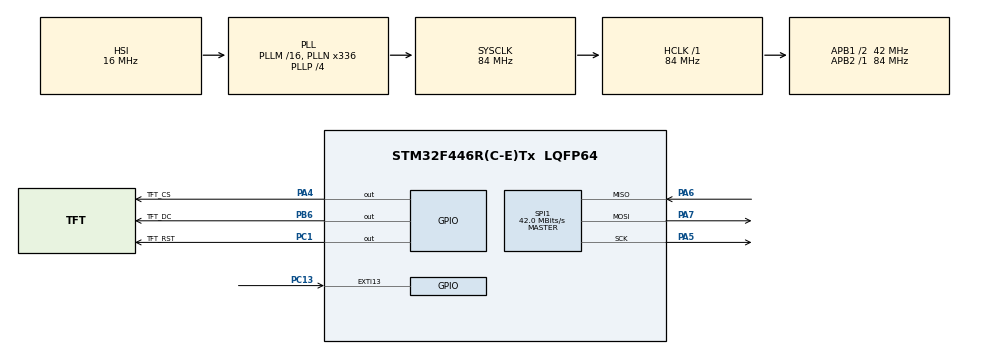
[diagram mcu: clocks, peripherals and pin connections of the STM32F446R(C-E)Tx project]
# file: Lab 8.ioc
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Mcu.Family=STM32F4
Mcu.Name=STM32F446R(C-E)Tx
Mcu.Package=LQFP64
NUCLEO-F446RE.BUTTON=1
NUCLEO-F446RE.LD1=true
NVIC.EXTI15_10_IRQn=true\:0\:0\:false\:false\:true\:false\:true\:true
NVIC.PriorityGroup=NVIC_PRIORITYGROUP_0
PA13.GPIO_Label=TMS
PA13.Signal=SYS_JTMS-SWDIO
PA14.GPIO_Label=TCK
PA14.Signal=SYS_JTCK-SWCLK
PA2.GPIO_Label=USART_TX
PA2.Signal=USART2_TX
PA3.GPIO_Label=USART_RX
PA3.Signal=USART2_RX
PA4.GPIO_Label=TFT_CS
PA4.Signal=GPIO_Output
PA5.Mode=Full_Duplex_Master
PA5.Signal=SPI1_SCK
PA6.Mode=Full_Duplex_Master
PA6.Signal=SPI1_MISO
PA7.Mode=Full_Duplex_Master
PA7.Signal=SPI1_MOSI
PB3.GPIO_Label=SWO
PB3.Signal=SYS_JTDO-SWO
PB6.GPIO_Label=TFT_DC
PB6.Signal=GPIO_Output
PC1.GPIO_Label=TFT_RST
PC1.Signal=GPIO_Output
PC13.Signal=GPXTI13
PC14-OSC32_IN.Signal=RCC_OSC32_IN
PC15-OSC32_OUT.Signal=RCC_OSC32_OUT
PH0-OSC_IN.Signal=RCC_OSC_IN
PH1-OSC_OUT.Signal=RCC_OSC_OUT
ProjectManager.HeapSize=0x200
ProjectManager.StackSize=0x400
ProjectManager.TargetToolchain=STM32CubeIDE
RCC.AHBFreq_Value=84000000
RCC.APB1CLKDivider=RCC_HCLK_DIV2
RCC.APB1Freq_Value=42000000
RCC.APB1TimFreq_Value=84000000
RCC.APB2Freq_Value=84000000
RCC.APB2TimFreq_Value=84000000
RCC.CortexFreq_Value=84000000
RCC.FLatency-AdvancedSettings=FLASH_LATENCY_2
RCC.HCLKFreq_Value=84000000
RCC.HSE_VALUE=8000000
RCC.HSI_VALUE=16000000
RCC.LSE_VALUE=32768
RCC.PLLN=336
RCC.PLLP=RCC_PLLP_DIV4
RCC.SYSCLKFreq_VALUE=84000000
RCC.SYSCLKSource=RCC_SYSCLKSOURCE_PLLCLK
RCC.USBFreq_Value=168000000
RCC.VCOOutputFreq_Value=336000000
SPI1.CalculateBaudRate=42.0 MBits/s
SPI1.Direction=SPI_DIRECTION_2LINES
SPI1.Mode=SPI_MODE_MASTER
SPI1.VirtualType=VM_MASTER
VP_NUCLEO-F446RE_VS_BSP_COMMON.Mode=COMMON
board=NUCLEO-F446RE

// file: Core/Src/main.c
/* USER CODE BEGIN Header */
/**
  ******************************************************************************
  * @file           : main.c
  * @brief          : Main program body
  ******************************************************************************
  * @attention
  *
  * Copyright (c) 2026 STMicroelectronics.
  * All rights reserved.
  *
  * This software is licensed under terms that can be found in the LICENSE file
  * in the root directory of this software component.
  * If no LICENSE file comes with this software, it is provided AS-IS.
  *
  ******************************************************************************
  */
/* USER CODE END Header */
#include "main.h"

/* USER CODE BEGIN Includes */
#include "ili9341.h"
#include <stdio.h>
#include <stdint.h>

/* USER CODE END Includes */

SPI_HandleTypeDef hspi1;

void SystemClock_Config(void);
static void MX_GPIO_Init(void);
static void MX_SPI1_Init(void);
/* USER CODE BEGIN PFP */
static void Oxy_Pixel(int16_t x, int16_t y, uint16_t color);
static void Oxy_Line(int16_t x0, int16_t y0,int16_t x1, int16_t y1,uint16_t color);
static int16_t Oxy_Amplitude(uint32_t phase);
static void Draw_Heart(uint16_t x, uint16_t y);
static void Draw_Oximeter(uint16_t spo2, uint16_t pulse);
/* USER CODE END PFP */

/* USER CODE BEGIN 0 */
#define OXY_WIDTH  LCD_W
#define OXY_HEIGHT LCD_H

static void Oxy_Pixel(int16_t x, int16_t y, uint16_t color)
{
    if (x >= 0 && y >= 0 &&
        x < OXY_WIDTH && y < OXY_HEIGHT)
    {
        ILI9341_DrawPixel(
            (uint16_t)x,
            (uint16_t)y,
            color
        );
    }
}

static void Oxy_Line(int16_t x0, int16_t y0,
                     int16_t x1, int16_t y1,
                     uint16_t color)
{
    int32_t x = x0;
    int32_t y = y0;

    int32_t dx = (int32_t)x1 - x0;
    int32_t dy = (int32_t)y1 - y0;

    int32_t sx = dx >= 0 ? 1 : -1;
    int32_t sy = dy >= 0 ? 1 : -1;

    if (dx < 0) dx = -dx;
    if (dy < 0) dy = -dy;

    int32_t error = dx - dy;

    for (;;)
    {
        Oxy_Pixel((int16_t)x, (int16_t)y, color);

        if (x == x1 && y == y1)
            break;

        int32_t twice = 2 * error;

        if (twice > -dy)
        {
            error -= dy;
            x += sx;
        }

        if (twice < dx)
        {
            error += dx;
            y += sy;
        }
    }
}

static int16_t Oxy_Amplitude(uint32_t phase)
{
    static const uint8_t t[] = {
        0, 10, 16, 22, 28, 36,
        43, 50, 59, 76, 90, 100
    };

    static const uint8_t a[] = {
        0, 1, 35, 95, 100, 72,
        52, 60, 36, 15, 3, 0
    };

    for (uint32_t i = 1; i < sizeof(t); ++i)
    {
        if (phase <= t[i])
        {
            return (int16_t)(
                a[i - 1] +
                ((int32_t)a[i] - a[i - 1]) *
                ((int32_t)phase - t[i - 1]) /
                (t[i] - t[i - 1])
            );
        }
    }

    return 0;
}

static void Draw_Heart(uint16_t x, uint16_t y)
{
    static const uint16_t heart[16] = {
        0x0000,
        0x1C38,
        0x3E7C,
        0x7FFE,
        0xFFFF,
        0xFFFF,
        0xFFFF,
        0x7FFE,
        0x3FFC,
        0x1FF8,
        0x0FF0,
        0x07E0,
        0x03C0,
        0x0180,
        0x0000,
        0x0000
    };

    uint16_t rojo = RGB565(255, 75, 100);

    for (uint16_t fila = 0; fila < 16; fila++)
    {
        for (uint16_t columna = 0; columna < 16; columna++)
        {
            if (heart[fila] & (0x8000U >> columna))
            {
                ILI9341_FillRect(
                    x + columna * 3,
                    y + fila * 3,
                    3, 3,
                    rojo
                );
            }
        }
    }
}

static void Draw_Oximeter(uint16_t spo2, uint16_t pulse)
{
    char value[8];

    const uint16_t bg =
        RGB565(8, 15, 27);

    const uint16_t header =
        RGB565(16, 29, 48);

    const uint16_t tile =
        RGB565(14, 27, 43);

    const uint16_t border =
        RGB565(37, 57, 74);

    const uint16_t white =
        RGB565(235, 245, 250);

    const uint16_t muted =
        RGB565(148, 174, 192);

    const uint16_t cyan =
        RGB565(52, 216, 220);

    const uint16_t green =
        RGB565(102, 234, 151);

    const uint16_t grid =
        RGB565(26, 43, 57);

    ILI9341_FillScreen(bg);

    ILI9341_FillRect(0, 0, 320, 44, header);
    ILI9341_FillRect(0, 43, 320, 2, cyan);
    ILI9341_DrawString(
            12, 8, "OXIMETRO",
            2, white, header
        );

        ILI9341_DrawString(
            12, 28, "DE PULSO",
            1, muted, header
        );

        ILI9341_FillRect(
            247, 14, 65, 17, border
        );

        ILI9341_FillRect(
               8, 53, 108, 78, tile
           );

           ILI9341_DrawRoundRect(
               8, 53, 108, 78,
               1, border
           );

           ILI9341_FillRect(
               8, 53, 3, 78, cyan
           );

           ILI9341_DrawString(
               20, 61, "SPO2",
               1, muted, tile
           );

           snprintf(
               value,
               sizeof(value),
               "%u",
               (unsigned)spo2
           );

           ILI9341_DrawString(
               20, 78, value,
               3, cyan, tile
           );

           ILI9341_DrawString(
               77, 94, "%",
               2, cyan, tile
           );

           ILI9341_DrawString(
               20, 116, "SATURACION",
               1, muted, tile
           );

           ILI9341_DrawRoundRect(
                  124, 53, 108, 78,
                  1, border
              );

              ILI9341_FillRect(
                  124, 53, 3, 78, green
              );

              ILI9341_DrawString(
                  136, 61, "PULSO",
                  1, muted, tile
              );

              snprintf(
                  value,
                  sizeof(value),
                  "%u",
                  (unsigned)pulse
              );

              ILI9341_DrawString(
                  136, 78, value,
                  3, green, tile
              );

              ILI9341_DrawString(
                  193, 99, "LPM",
                  1, green, tile
              );

              ILI9341_DrawString(
                  136, 116, "CARDIACA",
                  1, muted, tile
              );

              ILI9341_FillRect(
                      242, 55, 66, 73, header
                  );

                  Draw_Heart(251, 65);

                  ILI9341_DrawString(
                      251, 116, "HEART",
                      1, muted, header
                  );

                  ILI9341_FillRect(
                        8, 139, 304, 77, tile
                    );

                    ILI9341_DrawRoundRect(
                        8, 139, 304, 77,
                        1, border
                    );

                    ILI9341_DrawString(
                        16, 145, "ONDA PLETISMOGRAFICA",
                        1, muted, tile
                    );

                    for (uint16_t x = 16; x <= 304; x += 24)
                       {
                           ILI9341_FillRect(
                               x, 160, 1, 44, grid
                           );
                       }
                    for (uint16_t y = 160; y <= 202; y += 14)
                        {
                            ILI9341_FillRect(
                                16, y, 289, 1, grid
                            );
                        }

                    int16_t previous_y = 202;

                        for (int16_t i = 1; i <= 288; ++i)
                        {
                            uint32_t phase =
                                ((uint32_t)i * pulse * 5U / 216U) % 100U;

                            int16_t y = (int16_t)(
                                202 - Oxy_Amplitude(phase) * 35 / 100
                            );

                            Oxy_Line(
                                (int16_t)(15 + i),
                                previous_y,
                                (int16_t)(16 + i),
                                y,
                                cyan
                            );

                            Oxy_Line(
                                (int16_t)(15 + i),
                                (int16_t)(previous_y + 1),
                                (int16_t)(16 + i),
                                (int16_t)(y + 1),
                                cyan
                            );

                            previous_y = y;
                        }

                        // TIEMPO DE LA GRAFICA

                        ILI9341_DrawString(
                            16, 203, "0 S",
                            1, muted, tile
                        );

                        ILI9341_DrawString(
                            286, 203, "4 S",
                            1, muted, tile
                        );
                    }

/* USER CODE END 0 */

int main(void)
{

  /* MCU Configuration--------------------------------------------------------*/

  /* Reset of all peripherals, Initializes the Flash interface and the Systick. */
  HAL_Init();

  /* Configure the system clock */
  SystemClock_Config();

  /* Initialize all configured peripherals */
  MX_GPIO_Init();
  MX_SPI1_Init();
  /* USER CODE BEGIN 2 */
  ILI9341_Init();
  Draw_Oximeter(98, 85);
  /* USER CODE END 2 */

  /* Initialize leds */
  BSP_LED_Init(LED2);

  /* Initialize USER push-button, will be used to trigger an interrupt each time it's pressed.*/
  BSP_PB_Init(BUTTON_USER, BUTTON_MODE_EXTI);

  /* Infinite loop */
  while (1)
  {

  }
}

void SystemClock_Config(void)
{
  RCC_OscInitTypeDef RCC_OscInitStruct = {0};
  RCC_ClkInitTypeDef RCC_ClkInitStruct = {0};

  /** Configure the main internal regulator output voltage
  */
  __HAL_RCC_PWR_CLK_ENABLE();
  __HAL_PWR_VOLTAGESCALING_CONFIG(PWR_REGULATOR_VOLTAGE_SCALE3);

  /** Initializes the RCC Oscillators according to the specified parameters
  * in the RCC_OscInitTypeDef structure.
  */
  RCC_OscInitStruct.OscillatorType = RCC_OSCILLATORTYPE_HSI;
  RCC_OscInitStruct.HSIState = RCC_HSI_ON;
  RCC_OscInitStruct.HSICalibrationValue = RCC_HSICALIBRATION_DEFAULT;
  RCC_OscInitStruct.PLL.PLLState = RCC_PLL_ON;
  RCC_OscInitStruct.PLL.PLLSource = RCC_PLLSOURCE_HSI;
  RCC_OscInitStruct.PLL.PLLM = 16;
  RCC_OscInitStruct.PLL.PLLN = 336;
  RCC_OscInitStruct.PLL.PLLP = RCC_PLLP_DIV4;
  RCC_OscInitStruct.PLL.PLLQ = 2;
  RCC_OscInitStruct.PLL.PLLR = 2;
  if (HAL_RCC_OscConfig(&RCC_OscInitStruct) != HAL_OK)
  {
    Error_Handler();
  }

  /** Initializes the CPU, AHB and APB buses clocks
  */
  RCC_ClkInitStruct.ClockType = RCC_CLOCKTYPE_HCLK|RCC_CLOCKTYPE_SYSCLK
                              |RCC_CLOCKTYPE_PCLK1|RCC_CLOCKTYPE_PCLK2;
  RCC_ClkInitStruct.SYSCLKSource = RCC_SYSCLKSOURCE_PLLCLK;
  RCC_ClkInitStruct.AHBCLKDivider = RCC_SYSCLK_DIV1;
  RCC_ClkInitStruct.APB1CLKDivider = RCC_HCLK_DIV2;
  RCC_ClkInitStruct.APB2CLKDivider = RCC_HCLK_DIV1;

  if (HAL_RCC_ClockConfig(&RCC_ClkInitStruct, FLASH_LATENCY_2) != HAL_OK)
  {
    Error_Handler();
  }
}

static void MX_SPI1_Init(void)
{

  /* SPI1 parameter configuration*/
  hspi1.Instance = SPI1;
  hspi1.Init.Mode = SPI_MODE_MASTER;
  hspi1.Init.Direction = SPI_DIRECTION_2LINES;
  hspi1.Init.DataSize = SPI_DATASIZE_8BIT;
  hspi1.Init.CLKPolarity = SPI_POLARITY_LOW;
  hspi1.Init.CLKPhase = SPI_PHASE_1EDGE;
  hspi1.Init.NSS = SPI_NSS_SOFT;
  hspi1.Init.BaudRatePrescaler = SPI_BAUDRATEPRESCALER_2;
  hspi1.Init.FirstBit = SPI_FIRSTBIT_MSB;
  hspi1.Init.TIMode = SPI_TIMODE_DISABLE;
  hspi1.Init.CRCCalculation = SPI_CRCCALCULATION_DISABLE;
  hspi1.Init.CRCPolynomial = 10;
  if (HAL_SPI_Init(&hspi1) != HAL_OK)
  {
    Error_Handler();
  }

}

static void MX_GPIO_Init(void)
{
  GPIO_InitTypeDef GPIO_InitStruct = {0};

  /* GPIO Ports Clock Enable */
  __HAL_RCC_GPIOC_CLK_ENABLE();
  __HAL_RCC_GPIOH_CLK_ENABLE();
  __HAL_RCC_GPIOA_CLK_ENABLE();
  __HAL_RCC_GPIOB_CLK_ENABLE();

  /*Configure GPIO pin Output Level */
  HAL_GPIO_WritePin(TFT_RST_GPIO_Port, TFT_RST_Pin, GPIO_PIN_RESET);

  /*Configure GPIO pin Output Level */
  HAL_GPIO_WritePin(TFT_CS_GPIO_Port, TFT_CS_Pin, GPIO_PIN_RESET);

  /*Configure GPIO pin Output Level */
  HAL_GPIO_WritePin(TFT_DC_GPIO_Port, TFT_DC_Pin, GPIO_PIN_RESET);

  /*Configure GPIO pin : TFT_RST_Pin */
  GPIO_InitStruct.Pin = TFT_RST_Pin;
  GPIO_InitStruct.Mode = GPIO_MODE_OUTPUT_PP;
  GPIO_InitStruct.Pull = GPIO_NOPULL;
  GPIO_InitStruct.Speed = GPIO_SPEED_FREQ_LOW;
  HAL_GPIO_Init(TFT_RST_GPIO_Port, &GPIO_InitStruct);

  /*Configure GPIO pins : USART_TX_Pin USART_RX_Pin */
  GPIO_InitStruct.Pin = USART_TX_Pin|USART_RX_Pin;
  GPIO_InitStruct.Mode = GPIO_MODE_AF_PP;
  GPIO_InitStruct.Pull = GPIO_NOPULL;
  GPIO_InitStruct.Speed = GPIO_SPEED_FREQ_VERY_HIGH;
  GPIO_InitStruct.Alternate = GPIO_AF7_USART2;
  HAL_GPIO_Init(GPIOA, &GPIO_InitStruct);

  /*Configure GPIO pin : TFT_CS_Pin */
  GPIO_InitStruct.Pin = TFT_CS_Pin;
  GPIO_InitStruct.Mode = GPIO_MODE_OUTPUT_PP;
  GPIO_InitStruct.Pull = GPIO_NOPULL;
  GPIO_InitStruct.Speed = GPIO_SPEED_FREQ_LOW;
  HAL_GPIO_Init(TFT_CS_GPIO_Port, &GPIO_InitStruct);

  /*Configure GPIO pin : TFT_DC_Pin */
  GPIO_InitStruct.Pin = TFT_DC_Pin;
  GPIO_InitStruct.Mode = GPIO_MODE_OUTPUT_PP;
  GPIO_InitStruct.Pull = GPIO_NOPULL;
  GPIO_InitStruct.Speed = GPIO_SPEED_FREQ_LOW;
  HAL_GPIO_Init(TFT_DC_GPIO_Port, &GPIO_InitStruct);

}

void Error_Handler(void)
{
  __disable_irq();
  while (1)
  {
  }
}
